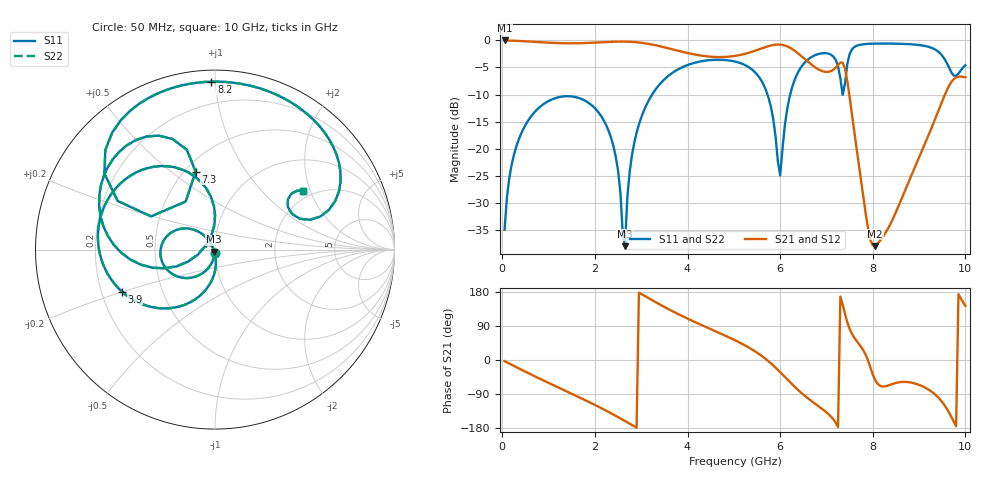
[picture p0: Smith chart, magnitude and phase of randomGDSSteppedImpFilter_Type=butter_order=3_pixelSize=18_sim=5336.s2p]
! freq	dB(S11)	phase(S11)	dB(S12)	phase(S12)
!  dB(S21)	phase(S21)	dB(S22)	phase(S22)
!S-par simulation data
#  GHz  S  DB  R 50
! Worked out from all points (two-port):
!   200 points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, 50 MHz to 10 GHz, reference 50 ohm
!   highest |S21| = -0.01 dB at 50 MHz (marker M1); lowest = -38.0 dB at 8.05 GHz (marker M2)
!   |S21| within 3 dB of the highest: start of sweep to 4.496 GHz; 4.885 GHz to 6.471 GHz (1.586 GHz wide, 27.9 % of centre)
!   lowest |S11| = -38.0 dB at 2.65 GHz (marker M3), VSWR 1.03, Z = 49.4 - j1.11 ohm
!   |S11| at or under -10 dB: start of sweep to 3.236 GHz; 5.726 GHz to 6.218 GHz (491.8 MHz wide, 8.24 % of centre); 7.348926 GHz to 7.351552 GHz (2.626 MHz wide, 0.0357 % of centre)
!   |S22| runs from -38.2 to -0.6 dB; largest |S21 - S12| = 0
!   S11 on the Smith chart (normalised r, x): 50 MHz: 1.00, -0.04; 3.9 GHz: 0.29, -0.20; 7.3 GHz: 0.56, +0.61; 8.2 GHz: 0.06, +0.98; 10 GHz: 1.78, +1.79
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0.05  -34.99 -93.0  -0.01 -3.2  -0.01 -3.2  -34.99 -93.0
0.2  -23.06 -102.6  -0.04 -12.5  -0.04 -12.5  -23.06 -102.6
0.55  -14.92 -124.4  -0.19 -34.0  -0.19 -34.0  -14.92 -124.4
1.75  -10.97 166.4  -0.49 -103.6  -0.49 -103.6  -10.97 166.3
2.35  -18.03 131.2  -0.25 -140.7  -0.25 -140.7  -18.03 131.1
2.65  -38.03 -116.2  -0.22 -161.1  -0.22 -161.1  -38.16 -115.3
2.85  -18.90 -89.5  -0.30 -175.1  -0.30 -175.1  -18.90 -89.3
3.4  -8.09 -125.0  -1.07 146.6  -1.07 146.6  -8.09 -124.9
3.9  -4.90 -155.7  -2.13 115.1  -2.13 115.1  -4.90 -155.7
5.05  -3.95 141.6  -2.83 50.6  -2.83 50.6  -3.95 141.7
5.7  -9.34 97.7  -1.18 1.6  -1.18 1.6  -9.34 98.0
6  -24.95 159.5  -0.77 -32.0  -0.77 -32.0  -24.71 159.1
6.25  -8.91 -163.4  -1.55 -63.1  -1.55 -63.1  -8.90 -163.7
6.7  -2.95 154.9  -4.64 -110.5  -4.64 -110.5  -2.95 154.8
7.3  -6.98 104.0  -4.09 167.4  -4.09 167.4  -6.98 103.9
7.4  -7.93 152.6  -5.19 122.0  -5.19 122.0  -7.93 152.5
7.5  -2.52 145.5  -10.50 82.0  -10.50 82.0  -2.52 145.5
8.05  -0.59 98.9  -37.97 -52.8  -37.97 -52.8  -0.59 98.9
8.2  -0.57 91.2  -36.50 -69.7  -36.50 -69.7  -0.57 91.2
8.35  -0.58 84.0  -34.44 -66.6  -34.44 -66.6  -0.58 83.9
9.6  -4.21 17.5  -9.20 -128.9  -9.20 -128.9  -4.21 17.5
10  -4.58 33.7  -6.81 143.0  -6.81 143.0  -4.58 33.7
